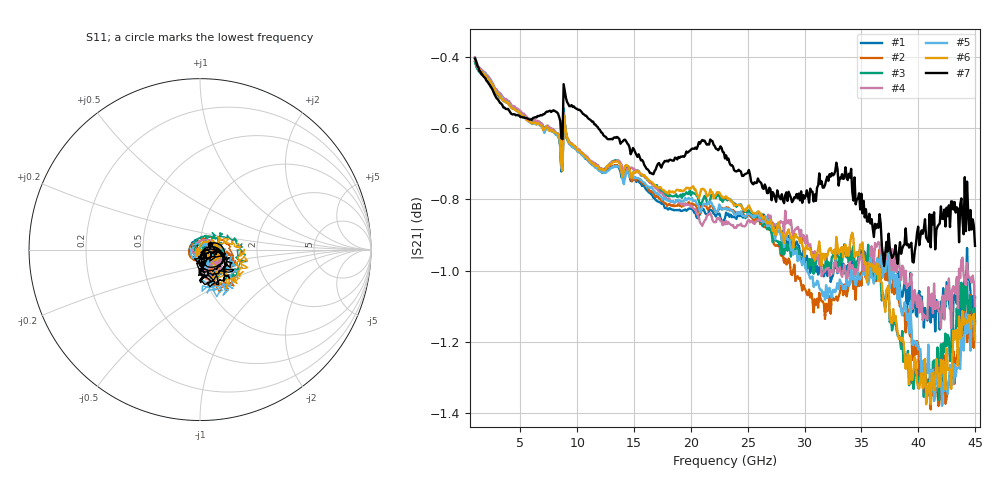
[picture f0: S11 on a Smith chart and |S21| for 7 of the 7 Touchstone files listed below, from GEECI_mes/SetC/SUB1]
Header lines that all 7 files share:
!Keysight Technologies,N5247B,MY61255062,A.19.80.06
!Correction: S11(Cdelta 2-Port  )
!S21(Cdelta 2-Port  )
!S12(Cdelta 2-Port  )
!S22(Cdelta 2-Port  )
!S2P File: Measurements: S11, S21, S12, S22:
# Hz S  dB  R 50
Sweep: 1 GHz to 45 GHz
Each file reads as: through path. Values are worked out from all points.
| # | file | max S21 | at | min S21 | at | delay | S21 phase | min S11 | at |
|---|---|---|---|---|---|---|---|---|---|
| 1 | 1.s2p | -0.40 dB | 1 GHz | -1.2 dB | 43 GHz | 55.7 ps | -102 deg at 23 GHz | -45.7 dB | 26.9 GHz |
| 2 | 2.s2p | -0.41 dB | 1 GHz | -1.4 dB | 41.1 GHz | 55.8 ps | -103 deg at 23 GHz | -43.0 dB | 9.5 GHz |
| 3 | 3.s2p | -0.41 dB | 1 GHz | -1.4 dB | 41.8 GHz | 55.9 ps | -104 deg at 23 GHz | -54.9 dB | 9.1 GHz |
| 4 | 4.s2p | -0.40 dB | 1 GHz | -1.2 dB | 42.9 GHz | 55.8 ps | -103 deg at 23 GHz | -64.4 dB | 9.4 GHz |
| 5 | 5.s2p | -0.40 dB | 1 GHz | -1.4 dB | 42.1 GHz | 56.1 ps | -106 deg at 23 GHz | -50.2 dB | 26.7 GHz |
| 6 | 6.s2p | -0.41 dB | 1 GHz | -1.4 dB | 41.1 GHz | 56.4 ps | -107 deg at 23 GHz | -59.6 dB | 17.9 GHz |
| 7 | thru_2.s2p | -0.40 dB | 1 GHz | -1.0 dB | 37 GHz | 49.2 ps | -48 deg at 23 GHz | -35.6 dB | 11.2 GHz |
